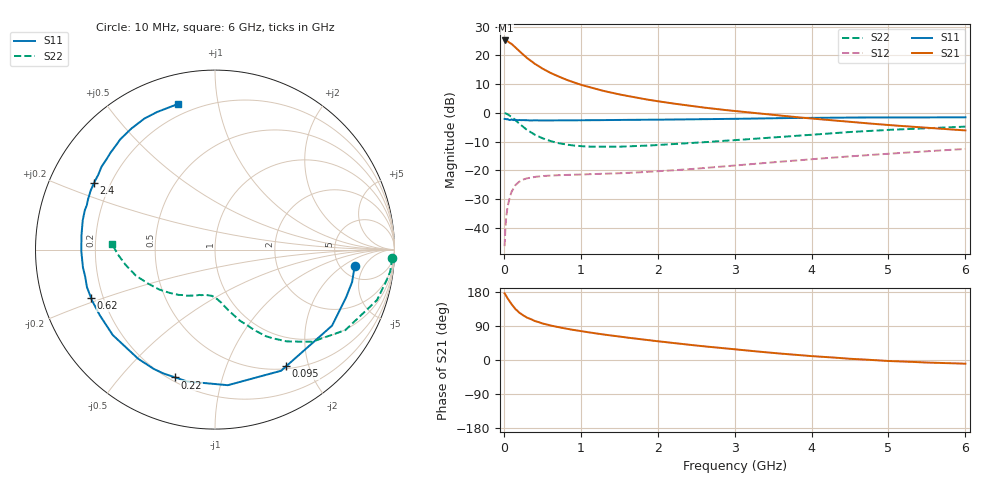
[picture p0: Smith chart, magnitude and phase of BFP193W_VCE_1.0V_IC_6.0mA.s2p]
! (c) 2016  Infineon Technologies AG, Munich
! Infineon Technologies  Discrete & RF Semiconductors
! BFP193W
! VCE = 1.0 V,  IC =  6.0 mA
! Common Emitter S-Parameters:  Jan 2016
# GHz  S  MA  R  50
!  f  S11  S21  S12  S22
! GHz  MAG  ANG  MAG  ANG  MAG  ANG  MAG  ANG
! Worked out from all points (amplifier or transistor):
!   210 points, 10 MHz to 6 GHz, reference 50 ohm
!   highest |S21| = 25.2 dB at 20 MHz (marker M1)
!   |S21| within 3 dB of that: start of sweep to 173.9 MHz
!   unconditionally stable (mu >= 1): 1.496 GHz to end of sweep
!   at 185 MHz: K = 0.16, MSG = 23.1 dB, |S12| = -24.3 dB
!   at 1.52 GHz: K = 1.01, MAG = 13.1 dB, |S12| = -21.0 dB
!   at 6 GHz: K = 1.01, MAG = 2.8 dB, |S12| = -12.6 dB
!   S11 on the Smith chart (normalised r, x): 10 MHz: 6.75, -3.15; 95 MHz: 0.53, -1.65; 220 MHz: 0.22, -0.71; 620 MHz: 0.15, -0.18; 2.4 GHz: 0.14, +0.25; 6 GHz: 0.14, +0.77
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0.01  0.7836 -6.6  18.13 175.6  0.0048 88.9  0.9893 -2.7
0.02  0.785 -13.3  18.14 172.8  0.0097 81.0  0.9837 -7.2
0.05  0.7778 -33.0  17.57 162.3  0.0237 74.2  0.9454 -17.3
0.095  0.7614 -58.6  15.95 148.7  0.0403 61.3  0.8602 -30.1
0.1  0.769 -61.4  15.83 147.0  0.0422 60.5  0.8537 -31.7
0.15  0.7589 -84.6  13.8 134.4  0.0553 49.8  0.7461 -43.5
0.2  0.7509 -102.0  11.88 125.0  0.0634 42.6  0.649 -52.0
0.22  0.746 -107.3  11.24 122.4  0.0656 40.2  0.6173 -54.5
0.26  0.7473 -117.2  10.06 116.7  0.0698 36.0  0.5588 -59.6
0.3  0.7437 -125.2  9.011 111.9  0.0726 32.9  0.5061 -63.4
0.4  0.7424 -140.1  7.162 103.1  0.0769 27.7  0.4183 -70.8
0.5  0.7389 -150.4  5.903 96.5  0.0794 24.9  0.3621 -75.9
0.62  0.7411 -158.7  4.863 90.5  0.0813 23.0  0.3191 -80.7
0.8  0.7389 -168.3  3.816 83.0  0.0832 22.0  0.2827 -86.1
1.02  0.7426 -176.5  3.028 75.7  0.0847 22.3  0.2625 -92.0
1.4  0.7488 172.5  2.239 64.5  0.0882 24.5  0.2576 -100.2
2.02  0.7608 158.5  1.578 49.1  0.0969 30.6  0.2771 -112.5
2.4  0.7699 151.2  1.336 40.4  0.1044 33.7  0.298 -120.2
3.1  0.7895 138.8  1.041 26.2  0.1246 37.7  0.3421 -134.5
4.1  0.8207 123.4  0.775 9.0  0.1599 38.2  0.4248 -154.6
5.1  0.8315 112.1  0.6 -3.3  0.1983 35.1  0.5121 -171.8
6  0.8366 104.3  0.495 -9.7  0.2356 31.1  0.5755 176.7
